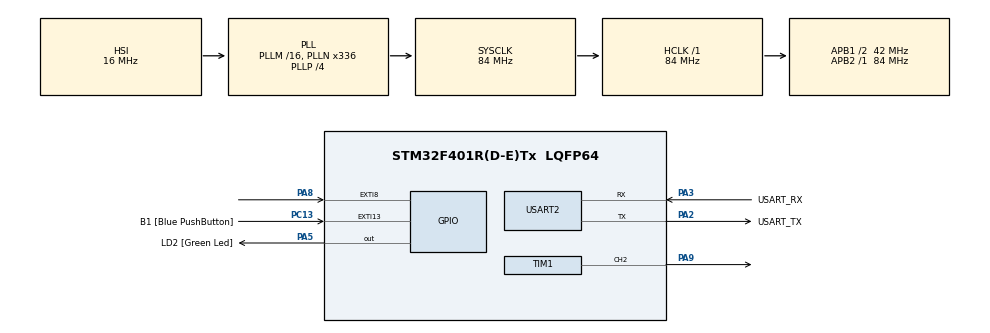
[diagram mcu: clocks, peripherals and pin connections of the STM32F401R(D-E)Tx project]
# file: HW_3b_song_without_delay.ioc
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Mcu.Family=STM32F4
Mcu.Name=STM32F401R(D-E)Tx
Mcu.Package=LQFP64
NVIC.EXTI9_5_IRQn=true\:0\:0\:true\:false\:true\:true\:true\:true
NVIC.PriorityGroup=NVIC_PRIORITYGROUP_0
NVIC.TIM2_IRQn=true\:0\:0\:true\:false\:true\:true\:true\:true
PA13.GPIO_Label=TMS
PA13.Mode=Serial_Wire
PA13.Signal=SYS_JTMS-SWDIO
PA14.GPIO_Label=TCK
PA14.Mode=Serial_Wire
PA14.Signal=SYS_JTCK-SWCLK
PA2.GPIO_Label=USART_TX
PA2.GPIO_Mode=GPIO_MODE_AF_PP
PA2.GPIO_PuPd=GPIO_NOPULL
PA2.GPIO_Speed=GPIO_SPEED_FREQ_LOW
PA2.Mode=Asynchronous
PA2.Signal=USART2_TX
PA3.GPIO_Label=USART_RX
PA3.GPIO_Mode=GPIO_MODE_AF_PP
PA3.GPIO_PuPd=GPIO_NOPULL
PA3.GPIO_Speed=GPIO_SPEED_FREQ_LOW
PA3.Mode=Asynchronous
PA3.Signal=USART2_RX
PA5.GPIO_Label=LD2 [Green Led]
PA5.GPIO_Mode=GPIO_MODE_OUTPUT_PP
PA5.GPIO_PuPd=GPIO_NOPULL
PA5.GPIO_Speed=GPIO_SPEED_FREQ_LOW
PA5.Signal=GPIO_Output
PA8.Signal=GPXTI8
PA9.Signal=S_TIM1_CH2
PB3.GPIO_Label=SWO
PB3.Signal=SYS_JTDO-SWO
PC13-ANTI_TAMP.GPIO_Label=B1 [Blue PushButton]
PC13-ANTI_TAMP.GPIO_ModeDefaultEXTI=GPIO_MODE_IT_FALLING
PC13-ANTI_TAMP.GPIO_PuPd=GPIO_NOPULL
PC13-ANTI_TAMP.Signal=GPXTI13
PC14-OSC32_IN.Mode=LSE-External-Oscillator
PC14-OSC32_IN.Signal=RCC_OSC32_IN
PC15-OSC32_OUT.Mode=LSE-External-Oscillator
PC15-OSC32_OUT.Signal=RCC_OSC32_OUT
PH0\ -\ OSC_IN.Mode=HSE-External-Clock-Source
PH0\ -\ OSC_IN.Signal=RCC_OSC_IN
PH1\ -\ OSC_OUT.Mode=HSE-External-Clock-Source
PH1\ -\ OSC_OUT.Signal=RCC_OSC_OUT
ProjectManager.HeapSize=0x200
ProjectManager.StackSize=0x400
ProjectManager.TargetToolchain=STM32CubeIDE
RCC.48MHZClocksFreq_Value=48000000
RCC.AHBFreq_Value=84000000
RCC.APB1CLKDivider=RCC_HCLK_DIV2
RCC.APB1Freq_Value=42000000
RCC.APB1TimFreq_Value=84000000
RCC.APB2Freq_Value=84000000
RCC.APB2TimFreq_Value=84000000
RCC.CortexFreq_Value=84000000
RCC.HCLKFreq_Value=84000000
RCC.HSE_VALUE=8000000
RCC.HSI_VALUE=16000000
RCC.PLLN=336
RCC.PLLP=RCC_PLLP_DIV4
RCC.PLLQ=7
RCC.SYSCLKFreq_VALUE=84000000
RCC.SYSCLKSource=RCC_SYSCLKSOURCE_PLLCLK
RCC.VCOOutputFreq_Value=336000000
SH.S_TIM1_CH2.0=TIM1_CH2,PWM Generation2 CH2
TIM1.Channel-PWM\ Generation2\ CH2=TIM_CHANNEL_2
TIM1.Period=1909
TIM1.Prescaler=99
TIM1.Pulse-PWM\ Generation2\ CH2=954
TIM2.Period=750
TIM2.Prescaler=8400-1
USART2.VirtualMode=VM_ASYNC
VP_TIM1_VS_ClockSourceINT.Mode=Internal
VP_TIM2_VS_ClockSourceINT.Mode=Internal
board=NUCLEO-F401RE

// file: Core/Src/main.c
/* USER CODE BEGIN Header */
/**
  ******************************************************************************
  * @file           : main.c
  * @brief          : Main program body
  ******************************************************************************
  * @attention
  *
  * Copyright (c) 2024 STMicroelectronics.
  * All rights reserved.
  *
  * This software is licensed under terms that can be found in the LICENSE file
  * in the root directory of this software component.
  * If no LICENSE file comes with this software, it is provided AS-IS.
  *
  ******************************************************************************
  */
/* USER CODE END Header */
#include "main.h"

/* USER CODE BEGIN PTD */
struct note{
	int tone;
	int duration;
};
/* USER CODE END PTD */

/* USER CODE BEGIN PD */
#define _DO4 3205
#define _DOD4 3031
#define _RE4 2856
#define _RED4 2699
#define _MI4 2544
#define _FA4 2405
#define _FAD4 2269
#define _SOL4 2141
#define _SOLD4 2141
#define _LA4 1908
#define _LAD4 1801
#define _SI4 1699

#define PAUSA 1000000

#define TEMPO 75
/* USER CODE END PD */

TIM_HandleTypeDef htim1;
TIM_HandleTypeDef htim2;

UART_HandleTypeDef huart2;

/* USER CODE BEGIN PV */
struct note score[]={
		/*
		{_MI4, 4},
		{_FAD4, 4},
		{_SOL4, 6},

		{PAUSA, 12},

		{_MI4, 4},
		{_FAD4, 4},
		{_LA4, 6},

		{PAUSA, 4},*/

		//uncomment this to play the best song ever

		{_MI4, 4},
		{_FAD4, 4},
		{_SOL4, 6},
		{_FAD4, 2},
		{_MI4, 4},
		{_LA4, 4},
		{_SOL4, 4},
		{_FAD4, 4},
		{_SOL4, 6},
		{_FAD4, 2},
		{_MI4, 4},

		{PAUSA, 4},

		{_MI4, 4},
		{_FAD4, 4},
		{_SOL4, 6},
		{_FAD4, 2},
		{_MI4, 4},
		{_LA4, 4},
		{_SOL4, 4},
		{_FAD4, 4},
		{_SI4, 12},
		{_DO4, 8},
		{_SI4, 4},
		{_LA4, 6},
		{_SOL4, 2},
		{_FAD4, 4},
		{_SI4, 8},
		{_LA4, 4},
		{_SOL4, 6},
		{_FAD4, 2},
		{_MI4, 4},
		{_FAD4, 8},
		{_SOL4, 4},
		{_FAD4, 8},
		{_SOL4, 4},
		{_FAD4, 8},
		{_MI4, 4},
		{_FAD4, 12}

};
/* USER CODE END PV */

void SystemClock_Config(void);
static void MX_GPIO_Init(void);
static void MX_USART2_UART_Init(void);
static void MX_TIM2_Init(void);
static void MX_TIM1_Init(void);

/* USER CODE BEGIN 0 */

#define MICROPHONE_PIN GPIOA, GPIO_PIN_8

int flag = 1; 	// 1 -> the song must NOT be played,
				// 0 -> The board must play the song or it's already playing it
int note_playing_flag=0;

void HAL_TIM_PeriodElapsedCallback (TIM_HandleTypeDef *htim)
{
	note_playing_flag--;
	if(htim==&htim2 && note_playing_flag==0) HAL_TIM_PWM_Stop(&htim1, TIM_CHANNEL_2);
}

void HAL_GPIO_EXTI_Callback(uint16_t GPIO_Pin)
{

	switch(GPIO_Pin)
	{
		case GPIO_PIN_8:

			flag = 0; 	//Play the song

						//this section will not be seen if song is
						//currently playing due to microphone lower priority

			break;

		default:

			break;
	}
}

void playnote(struct note note_playing){

	  TIM_ClockConfigTypeDef sClockSourceConfig = {0};
	  TIM_MasterConfigTypeDef sMasterConfig = {0};
	  TIM_OC_InitTypeDef sConfigOC = {0};
	  TIM_BreakDeadTimeConfigTypeDef sBreakDeadTimeConfig = {0};

	  htim1.Instance = TIM1;
	  htim1.Init.Prescaler = 99;
	  htim1.Init.CounterMode = TIM_COUNTERMODE_UP;
	  htim1.Init.Period = note_playing.tone;
	  htim1.Init.ClockDivision = TIM_CLOCKDIVISION_DIV1;
	  htim1.Init.RepetitionCounter = 0;
	  htim1.Init.AutoReloadPreload = TIM_AUTORELOAD_PRELOAD_DISABLE;

	  if (HAL_TIM_Base_Init(&htim1) != HAL_OK)
	  {
	    Error_Handler();
	  }

	  sClockSourceConfig.ClockSource = TIM_CLOCKSOURCE_INTERNAL;

	  if (HAL_TIM_ConfigClockSource(&htim1, &sClockSourceConfig) != HAL_OK)
	  {
	    Error_Handler();
	  }

	  if (HAL_TIM_PWM_Init(&htim1) != HAL_OK)
	  {
	    Error_Handler();
	  }

	  sMasterConfig.MasterOutputTrigger = TIM_TRGO_RESET;
	  sMasterConfig.MasterSlaveMode = TIM_MASTERSLAVEMODE_DISABLE;

	  if (HAL_TIMEx_MasterConfigSynchronization(&htim1, &sMasterConfig) != HAL_OK)
	  {
	    Error_Handler();
	  }

	  sConfigOC.OCMode = TIM_OCMODE_PWM1;
	  sConfigOC.Pulse = note_playing.tone/2;
	  sConfigOC.OCPolarity = TIM_OCPOLARITY_HIGH;
	  sConfigOC.OCNPolarity = TIM_OCNPOLARITY_HIGH;
	  sConfigOC.OCFastMode = TIM_OCFAST_DISABLE;
	  sConfigOC.OCIdleState = TIM_OCIDLESTATE_RESET;
	  sConfigOC.OCNIdleState = TIM_OCNIDLESTATE_RESET;

	  if (HAL_TIM_PWM_ConfigChannel(&htim1, &sConfigOC, TIM_CHANNEL_2) != HAL_OK)
	  {
	    Error_Handler();
	  }

	  sBreakDeadTimeConfig.OffStateRunMode = TIM_OSSR_DISABLE;
	  sBreakDeadTimeConfig.OffStateIDLEMode = TIM_OSSI_DISABLE;
	  sBreakDeadTimeConfig.LockLevel = TIM_LOCKLEVEL_OFF;
	  sBreakDeadTimeConfig.DeadTime = 0;
	  sBreakDeadTimeConfig.BreakState = TIM_BREAK_DISABLE;
	  sBreakDeadTimeConfig.BreakPolarity = TIM_BREAKPOLARITY_HIGH;
	  sBreakDeadTimeConfig.AutomaticOutput = TIM_AUTOMATICOUTPUT_DISABLE;

	  if (HAL_TIMEx_ConfigBreakDeadTime(&htim1, &sBreakDeadTimeConfig) != HAL_OK)
	  {
	    Error_Handler();
	  }

	  /* USER CODE BEGIN TIM1_Init 2 */

	  HAL_TIM_PWM_Start(&htim1, TIM_CHANNEL_2);
	  //HAL_TIM_Base_Start_IT (&htim2);
	  note_playing_flag=note_playing.duration;
	  //HAL_Delay(note_playing.duration*TEMPO);
	  //HAL_TIM_PWM_Stop(&htim1, TIM_CHANNEL_2);

	  /* USER CODE END TIM1_Init 2 */
	  //HAL_TIM_MspPostInit(&htim1);

}

void playsong(){
	int length = sizeof(score)/sizeof(score[0]);

	for (int i= 0; i<length; i++){
		playnote(score[i]);
		while(note_playing_flag);
	}

	flag = 1; //song finished
}
/* USER CODE END 0 */

int main(void)
{

  /* MCU Configuration--------------------------------------------------------*/

  /* Reset of all peripherals, Initializes the Flash interface and the Systick. */
  HAL_Init();

  /* Configure the system clock */
  SystemClock_Config();

  /* Initialize all configured peripherals */
  MX_GPIO_Init();
  MX_USART2_UART_Init();
  MX_TIM2_Init();
  MX_TIM1_Init();
  /* USER CODE BEGIN 2 */
  HAL_TIM_Base_Start_IT (&htim2);

  /* USER CODE END 2 */

  /* Infinite loop */
  /* USER CODE BEGIN WHILE */
  while (1)
  {
	  if (flag == 0){
	  		playsong();}
    /* USER CODE END WHILE */

  }
}

void SystemClock_Config(void)
{
  RCC_OscInitTypeDef RCC_OscInitStruct = {0};
  RCC_ClkInitTypeDef RCC_ClkInitStruct = {0};

  /** Configure the main internal regulator output voltage
  */
  __HAL_RCC_PWR_CLK_ENABLE();
  __HAL_PWR_VOLTAGESCALING_CONFIG(PWR_REGULATOR_VOLTAGE_SCALE2);

  /** Initializes the RCC Oscillators according to the specified parameters
  * in the RCC_OscInitTypeDef structure.
  */
  RCC_OscInitStruct.OscillatorType = RCC_OSCILLATORTYPE_HSI;
  RCC_OscInitStruct.HSIState = RCC_HSI_ON;
  RCC_OscInitStruct.HSICalibrationValue = RCC_HSICALIBRATION_DEFAULT;
  RCC_OscInitStruct.PLL.PLLState = RCC_PLL_ON;
  RCC_OscInitStruct.PLL.PLLSource = RCC_PLLSOURCE_HSI;
  RCC_OscInitStruct.PLL.PLLM = 16;
  RCC_OscInitStruct.PLL.PLLN = 336;
  RCC_OscInitStruct.PLL.PLLP = RCC_PLLP_DIV4;
  RCC_OscInitStruct.PLL.PLLQ = 7;
  if (HAL_RCC_OscConfig(&RCC_OscInitStruct) != HAL_OK)
  {
    Error_Handler();
  }

  /** Initializes the CPU, AHB and APB buses clocks
  */
  RCC_ClkInitStruct.ClockType = RCC_CLOCKTYPE_HCLK|RCC_CLOCKTYPE_SYSCLK
                              |RCC_CLOCKTYPE_PCLK1|RCC_CLOCKTYPE_PCLK2;
  RCC_ClkInitStruct.SYSCLKSource = RCC_SYSCLKSOURCE_PLLCLK;
  RCC_ClkInitStruct.AHBCLKDivider = RCC_SYSCLK_DIV1;
  RCC_ClkInitStruct.APB1CLKDivider = RCC_HCLK_DIV2;
  RCC_ClkInitStruct.APB2CLKDivider = RCC_HCLK_DIV1;

  if (HAL_RCC_ClockConfig(&RCC_ClkInitStruct, FLASH_LATENCY_2) != HAL_OK)
  {
    Error_Handler();
  }
}

static void MX_TIM1_Init(void)
{

  TIM_ClockConfigTypeDef sClockSourceConfig = {0};
  TIM_MasterConfigTypeDef sMasterConfig = {0};
  TIM_OC_InitTypeDef sConfigOC = {0};
  TIM_BreakDeadTimeConfigTypeDef sBreakDeadTimeConfig = {0};

  htim1.Instance = TIM1;
  htim1.Init.Prescaler = 99;
  htim1.Init.CounterMode = TIM_COUNTERMODE_UP;
  htim1.Init.Period = 1909;
  htim1.Init.ClockDivision = TIM_CLOCKDIVISION_DIV1;
  htim1.Init.RepetitionCounter = 0;
  htim1.Init.AutoReloadPreload = TIM_AUTORELOAD_PRELOAD_DISABLE;
  if (HAL_TIM_Base_Init(&htim1) != HAL_OK)
  {
    Error_Handler();
  }
  sClockSourceConfig.ClockSource = TIM_CLOCKSOURCE_INTERNAL;
  if (HAL_TIM_ConfigClockSource(&htim1, &sClockSourceConfig) != HAL_OK)
  {
    Error_Handler();
  }
  if (HAL_TIM_PWM_Init(&htim1) != HAL_OK)
  {
    Error_Handler();
  }
  sMasterConfig.MasterOutputTrigger = TIM_TRGO_RESET;
  sMasterConfig.MasterSlaveMode = TIM_MASTERSLAVEMODE_DISABLE;
  if (HAL_TIMEx_MasterConfigSynchronization(&htim1, &sMasterConfig) != HAL_OK)
  {
    Error_Handler();
  }
  sConfigOC.OCMode = TIM_OCMODE_PWM1;
  sConfigOC.Pulse = 954;
  sConfigOC.OCPolarity = TIM_OCPOLARITY_HIGH;
  sConfigOC.OCNPolarity = TIM_OCNPOLARITY_HIGH;
  sConfigOC.OCFastMode = TIM_OCFAST_DISABLE;
  sConfigOC.OCIdleState = TIM_OCIDLESTATE_RESET;
  sConfigOC.OCNIdleState = TIM_OCNIDLESTATE_RESET;
  if (HAL_TIM_PWM_ConfigChannel(&htim1, &sConfigOC, TIM_CHANNEL_2) != HAL_OK)
  {
    Error_Handler();
  }
  sBreakDeadTimeConfig.OffStateRunMode = TIM_OSSR_DISABLE;
  sBreakDeadTimeConfig.OffStateIDLEMode = TIM_OSSI_DISABLE;
  sBreakDeadTimeConfig.LockLevel = TIM_LOCKLEVEL_OFF;
  sBreakDeadTimeConfig.DeadTime = 0;
  sBreakDeadTimeConfig.BreakState = TIM_BREAK_DISABLE;
  sBreakDeadTimeConfig.BreakPolarity = TIM_BREAKPOLARITY_HIGH;
  sBreakDeadTimeConfig.AutomaticOutput = TIM_AUTOMATICOUTPUT_DISABLE;
  if (HAL_TIMEx_ConfigBreakDeadTime(&htim1, &sBreakDeadTimeConfig) != HAL_OK)
  {
    Error_Handler();
  }
  HAL_TIM_MspPostInit(&htim1);

}

static void MX_TIM2_Init(void)
{

  TIM_ClockConfigTypeDef sClockSourceConfig = {0};
  TIM_MasterConfigTypeDef sMasterConfig = {0};

  htim2.Instance = TIM2;
  htim2.Init.Prescaler = 8400-1;
  htim2.Init.CounterMode = TIM_COUNTERMODE_UP;
  htim2.Init.Period = 750;
  htim2.Init.ClockDivision = TIM_CLOCKDIVISION_DIV1;
  htim2.Init.AutoReloadPreload = TIM_AUTORELOAD_PRELOAD_DISABLE;
  if (HAL_TIM_Base_Init(&htim2) != HAL_OK)
  {
    Error_Handler();
  }
  sClockSourceConfig.ClockSource = TIM_CLOCKSOURCE_INTERNAL;
  if (HAL_TIM_ConfigClockSource(&htim2, &sClockSourceConfig) != HAL_OK)
  {
    Error_Handler();
  }
  sMasterConfig.MasterOutputTrigger = TIM_TRGO_RESET;
  sMasterConfig.MasterSlaveMode = TIM_MASTERSLAVEMODE_DISABLE;
  if (HAL_TIMEx_MasterConfigSynchronization(&htim2, &sMasterConfig) != HAL_OK)
  {
    Error_Handler();
  }

}

static void MX_USART2_UART_Init(void)
{

  huart2.Instance = USART2;
  huart2.Init.BaudRate = 115200;
  huart2.Init.WordLength = UART_WORDLENGTH_8B;
  huart2.Init.StopBits = UART_STOPBITS_1;
  huart2.Init.Parity = UART_PARITY_NONE;
  huart2.Init.Mode = UART_MODE_TX_RX;
  huart2.Init.HwFlowCtl = UART_HWCONTROL_NONE;
  huart2.Init.OverSampling = UART_OVERSAMPLING_16;
  if (HAL_UART_Init(&huart2) != HAL_OK)
  {
    Error_Handler();
  }

}

static void MX_GPIO_Init(void)
{
  GPIO_InitTypeDef GPIO_InitStruct = {0};

  /* GPIO Ports Clock Enable */
  __HAL_RCC_GPIOC_CLK_ENABLE();
  __HAL_RCC_GPIOH_CLK_ENABLE();
  __HAL_RCC_GPIOA_CLK_ENABLE();
  __HAL_RCC_GPIOB_CLK_ENABLE();

  /*Configure GPIO pin Output Level */
  HAL_GPIO_WritePin(LD2_GPIO_Port, LD2_Pin, GPIO_PIN_RESET);

  /*Configure GPIO pin : B1_Pin */
  GPIO_InitStruct.Pin = B1_Pin;
  GPIO_InitStruct.Mode = GPIO_MODE_IT_FALLING;
  GPIO_InitStruct.Pull = GPIO_NOPULL;
  HAL_GPIO_Init(B1_GPIO_Port, &GPIO_InitStruct);

  /*Configure GPIO pin : LD2_Pin */
  GPIO_InitStruct.Pin = LD2_Pin;
  GPIO_InitStruct.Mode = GPIO_MODE_OUTPUT_PP;
  GPIO_InitStruct.Pull = GPIO_NOPULL;
  GPIO_InitStruct.Speed = GPIO_SPEED_FREQ_LOW;
  HAL_GPIO_Init(LD2_GPIO_Port, &GPIO_InitStruct);

  /*Configure GPIO pin : PA8 */
  GPIO_InitStruct.Pin = GPIO_PIN_8;
  GPIO_InitStruct.Mode = GPIO_MODE_IT_RISING;
  GPIO_InitStruct.Pull = GPIO_NOPULL;
  HAL_GPIO_Init(GPIOA, &GPIO_InitStruct);

  /* EXTI interrupt init*/
  HAL_NVIC_SetPriority(EXTI9_5_IRQn, 0, 0);
  HAL_NVIC_EnableIRQ(EXTI9_5_IRQn);

}

void Error_Handler(void)
{
  __disable_irq();
  while (1)
  {
  }
}
